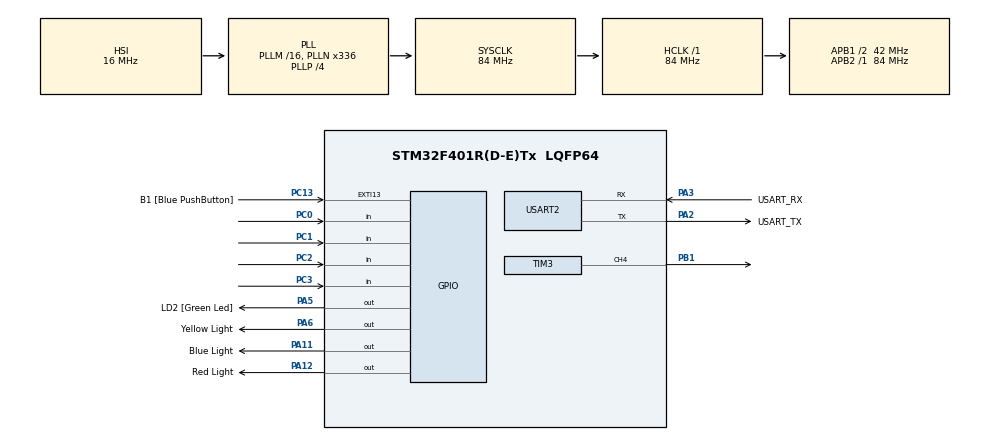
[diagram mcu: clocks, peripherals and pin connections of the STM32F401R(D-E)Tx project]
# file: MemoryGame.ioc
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Mcu.Family=STM32F4
Mcu.Name=STM32F401R(D-E)Tx
Mcu.Package=LQFP64
NVIC.PriorityGroup=NVIC_PRIORITYGROUP_4
NVIC.TIM2_IRQn=true\:0\:0\:false\:false\:true\:true\:true\:true
NVIC.TIM3_IRQn=true\:0\:0\:false\:false\:true\:true\:true\:true
PA11.GPIO_Label=Blue Light
PA11.Signal=GPIO_Output
PA12.GPIO_Label=Red Light
PA12.Signal=GPIO_Output
PA13.GPIO_Label=TMS
PA13.Mode=Trace_Asynchronous_SW
PA13.Signal=SYS_JTMS-SWDIO
PA14.GPIO_Label=TCK
PA14.Mode=Trace_Asynchronous_SW
PA14.Signal=SYS_JTCK-SWCLK
PA2.GPIO_Label=USART_TX
PA2.GPIO_Mode=GPIO_MODE_AF_PP
PA2.GPIO_PuPd=GPIO_NOPULL
PA2.GPIO_Speed=GPIO_SPEED_FREQ_LOW
PA2.Mode=Asynchronous
PA2.Signal=USART2_TX
PA3.GPIO_Label=USART_RX
PA3.GPIO_Mode=GPIO_MODE_AF_PP
PA3.GPIO_PuPd=GPIO_NOPULL
PA3.GPIO_Speed=GPIO_SPEED_FREQ_LOW
PA3.Mode=Asynchronous
PA3.Signal=USART2_RX
PA5.GPIO_Label=LD2 [Green Led]
PA5.GPIO_Mode=GPIO_MODE_OUTPUT_PP
PA5.GPIO_PuPd=GPIO_NOPULL
PA5.GPIO_Speed=GPIO_SPEED_FREQ_LOW
PA5.Signal=GPIO_Output
PA6.GPIO_Label=Yellow Light
PA6.Signal=GPIO_Output
PB1.Signal=S_TIM3_CH4
PB3.GPIO_Label=SWO
PB3.Mode=Trace_Asynchronous_SW
PB3.Signal=SYS_JTDO-SWO
PC0.GPIO_PuPd=GPIO_PULLUP
PC0.Signal=GPIO_Input
PC1.GPIO_PuPd=GPIO_PULLUP
PC1.Signal=GPIO_Input
PC13-ANTI_TAMP.GPIO_Label=B1 [Blue PushButton]
PC13-ANTI_TAMP.GPIO_ModeDefaultEXTI=GPIO_MODE_IT_FALLING
PC13-ANTI_TAMP.GPIO_PuPd=GPIO_NOPULL
PC13-ANTI_TAMP.Signal=GPXTI13
PC14-OSC32_IN.Mode=LSE-External-Oscillator
PC14-OSC32_IN.Signal=RCC_OSC32_IN
PC15-OSC32_OUT.Mode=LSE-External-Oscillator
PC15-OSC32_OUT.Signal=RCC_OSC32_OUT
PC2.GPIO_PuPd=GPIO_PULLUP
PC2.Signal=GPIO_Input
PC3.GPIO_PuPd=GPIO_PULLUP
PC3.Signal=GPIO_Input
PH0\ -\ OSC_IN.Mode=HSE-External-Clock-Source
PH0\ -\ OSC_IN.Signal=RCC_OSC_IN
PH1\ -\ OSC_OUT.Mode=HSE-External-Clock-Source
PH1\ -\ OSC_OUT.Signal=RCC_OSC_OUT
ProjectManager.HeapSize=0x200
ProjectManager.StackSize=0x400
ProjectManager.TargetToolchain=CMake
RCC.48MHZClocksFreq_Value=48000000
RCC.AHBFreq_Value=84000000
RCC.APB1CLKDivider=RCC_HCLK_DIV2
RCC.APB1Freq_Value=42000000
RCC.APB1TimFreq_Value=84000000
RCC.APB2Freq_Value=84000000
RCC.APB2TimFreq_Value=84000000
RCC.CortexFreq_Value=84000000
RCC.HCLKFreq_Value=84000000
RCC.HSE_VALUE=8000000
RCC.HSI_VALUE=16000000
RCC.PLLN=336
RCC.PLLP=RCC_PLLP_DIV4
RCC.PLLQ=7
RCC.SYSCLKFreq_VALUE=84000000
RCC.SYSCLKSource=RCC_SYSCLKSOURCE_PLLCLK
RCC.VCOOutputFreq_Value=336000000
SH.S_TIM3_CH4.0=TIM3_CH4,PWM Generation4 CH4
TIM2.Period=9
TIM2.Prescaler=8399
TIM3.Channel-PWM\ Generation4\ CH4=TIM_CHANNEL_4
TIM3.Period=4095
TIM3.Prescaler=83
USART2.VirtualMode=VM_ASYNC
VP_TIM2_VS_ClockSourceINT.Mode=Internal
VP_TIM3_VS_ClockSourceINT.Mode=Internal
board=NUCLEO-F401RE

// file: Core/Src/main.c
/* USER CODE BEGIN Header */
/**
  ******************************************************************************
  * @file           : main.c
  * @brief          : Main program body
  ******************************************************************************
  * @attention
  *
  * Copyright (c) 2026 STMicroelectronics.
  * All rights reserved.
  *
  * This software is licensed under terms that can be found in the LICENSE file
  * in the root directory of this software component.
  * If no LICENSE file comes with this software, it is provided AS-IS.
  *
  ******************************************************************************
  */
/* USER CODE END Header */
#include "main.h"

/* USER CODE BEGIN Includes */
#include <stdint.h>
#include <stdio.h>
#include <string.h>
#include <sys/_intsup.h>
/* USER CODE END Includes */

/* USER CODE BEGIN PTD */
typedef enum {
  IDLE,
  DISPLAY_SEQUENCE,
  USER_INPUT,
  GAME_OVER,
} GameState;

typedef enum {
  RED = 0,
  BLUE,
  YELLOW,
  GREEN,
  NONE
} ColorIndex;

typedef struct {
  uint16_t button_pin;
  uint16_t light_pin;
  uint16_t note;
  uint8_t toggled;
} Color;

Color colors[] = {
  {GPIO_PIN_3, GPIO_PIN_12, (uint16_t) 261, 0},
  {GPIO_PIN_2, GPIO_PIN_11, (uint16_t) 293, 0},
  {GPIO_PIN_1, GPIO_PIN_6, (uint16_t) 329, 0},
  {GPIO_PIN_0, GPIO_PIN_5, (uint16_t) 349, 0},
};

typedef struct {
  GameState state;
  uint8_t sequence[64];
  uint8_t sequence_length;
  uint8_t input_index;
} GameContext;
/* USER CODE END PTD */

/* USER CODE BEGIN PD */
#define GAME_MAX_DELAY 500
#define GAME_DELAY_SHORT 200
#define DEBOUNCE_TIME 50
#define UART_MSG(msg) msg "\r\n"
/* USER CODE END PD */

TIM_HandleTypeDef htim2;
TIM_HandleTypeDef htim3;

UART_HandleTypeDef huart2;

/* USER CODE BEGIN PV */
GameContext game;
uint32_t rng = 198273;
/* USER CODE END PV */

void SystemClock_Config(void);
static void MX_GPIO_Init(void);
static void MX_TIM3_Init(void);
static void MX_USART2_UART_Init(void);
static void MX_TIM2_Init(void);
/* USER CODE BEGIN PFP */
void game_init(void);
void game_step(void);
void play_tone(uint16_t freq);
void stop_tone(void);
void toggle_color(Color *color);
void set_color(Color *color, uint8_t state);
uint8_t get_next_random_color(void);
uint8_t get_button_input(uint8_t reset);
void uart_print(char* msg);
/* USER CODE END PFP */

int main(void)
{

  /* MCU Configuration--------------------------------------------------------*/

  /* Reset of all peripherals, Initializes the Flash interface and the Systick. */
  HAL_Init();

  /* Configure the system clock */
  SystemClock_Config();

  /* Initialize all configured peripherals */
  MX_GPIO_Init();
  MX_TIM3_Init();
  MX_USART2_UART_Init();
  MX_TIM2_Init();
  /* USER CODE BEGIN 2 */
  HAL_TIM_PWM_Start(&htim3, TIM_CHANNEL_4);
  HAL_TIM_Base_Start_IT(&htim2);

  HAL_GPIO_WritePin(GPIOA, GPIO_PIN_5|GPIO_PIN_6|GPIO_PIN_11|GPIO_PIN_12, GPIO_PIN_RESET);
  /* USER CODE END 2 */

  /* Infinite loop */
  while (1)
  {

    /* USER CODE BEGIN 3 */
    game_step();

    if (HAL_GPIO_ReadPin(GPIOC, GPIO_PIN_13) == GPIO_PIN_RESET) {
      HAL_Delay(DEBOUNCE_TIME);
      if (HAL_GPIO_ReadPin(GPIOC, GPIO_PIN_13) == GPIO_PIN_RESET) {
        while (HAL_GPIO_ReadPin(GPIOC, GPIO_PIN_13) == GPIO_PIN_RESET);
        game_init();
      }
    }
  }
  /* USER CODE END 3 */
}

void SystemClock_Config(void)
{
  RCC_OscInitTypeDef RCC_OscInitStruct = {0};
  RCC_ClkInitTypeDef RCC_ClkInitStruct = {0};

  /** Configure the main internal regulator output voltage
  */
  __HAL_RCC_PWR_CLK_ENABLE();
  __HAL_PWR_VOLTAGESCALING_CONFIG(PWR_REGULATOR_VOLTAGE_SCALE2);

  /** Initializes the RCC Oscillators according to the specified parameters
  * in the RCC_OscInitTypeDef structure.
  */
  RCC_OscInitStruct.OscillatorType = RCC_OSCILLATORTYPE_HSI;
  RCC_OscInitStruct.HSIState = RCC_HSI_ON;
  RCC_OscInitStruct.HSICalibrationValue = RCC_HSICALIBRATION_DEFAULT;
  RCC_OscInitStruct.PLL.PLLState = RCC_PLL_ON;
  RCC_OscInitStruct.PLL.PLLSource = RCC_PLLSOURCE_HSI;
  RCC_OscInitStruct.PLL.PLLM = 16;
  RCC_OscInitStruct.PLL.PLLN = 336;
  RCC_OscInitStruct.PLL.PLLP = RCC_PLLP_DIV4;
  RCC_OscInitStruct.PLL.PLLQ = 7;
  if (HAL_RCC_OscConfig(&RCC_OscInitStruct) != HAL_OK)
  {
    Error_Handler();
  }

  /** Initializes the CPU, AHB and APB buses clocks
  */
  RCC_ClkInitStruct.ClockType = RCC_CLOCKTYPE_HCLK|RCC_CLOCKTYPE_SYSCLK
                              |RCC_CLOCKTYPE_PCLK1|RCC_CLOCKTYPE_PCLK2;
  RCC_ClkInitStruct.SYSCLKSource = RCC_SYSCLKSOURCE_PLLCLK;
  RCC_ClkInitStruct.AHBCLKDivider = RCC_SYSCLK_DIV1;
  RCC_ClkInitStruct.APB1CLKDivider = RCC_HCLK_DIV2;
  RCC_ClkInitStruct.APB2CLKDivider = RCC_HCLK_DIV1;

  if (HAL_RCC_ClockConfig(&RCC_ClkInitStruct, FLASH_LATENCY_2) != HAL_OK)
  {
    Error_Handler();
  }
}

static void MX_TIM2_Init(void)
{

  TIM_ClockConfigTypeDef sClockSourceConfig = {0};
  TIM_MasterConfigTypeDef sMasterConfig = {0};

  htim2.Instance = TIM2;
  htim2.Init.Prescaler = 8399;
  htim2.Init.CounterMode = TIM_COUNTERMODE_UP;
  htim2.Init.Period = 9;
  htim2.Init.ClockDivision = TIM_CLOCKDIVISION_DIV1;
  htim2.Init.AutoReloadPreload = TIM_AUTORELOAD_PRELOAD_DISABLE;
  if (HAL_TIM_Base_Init(&htim2) != HAL_OK)
  {
    Error_Handler();
  }
  sClockSourceConfig.ClockSource = TIM_CLOCKSOURCE_INTERNAL;
  if (HAL_TIM_ConfigClockSource(&htim2, &sClockSourceConfig) != HAL_OK)
  {
    Error_Handler();
  }
  sMasterConfig.MasterOutputTrigger = TIM_TRGO_RESET;
  sMasterConfig.MasterSlaveMode = TIM_MASTERSLAVEMODE_DISABLE;
  if (HAL_TIMEx_MasterConfigSynchronization(&htim2, &sMasterConfig) != HAL_OK)
  {
    Error_Handler();
  }

}

static void MX_TIM3_Init(void)
{

  TIM_ClockConfigTypeDef sClockSourceConfig = {0};
  TIM_MasterConfigTypeDef sMasterConfig = {0};
  TIM_OC_InitTypeDef sConfigOC = {0};

  htim3.Instance = TIM3;
  htim3.Init.Prescaler = 83;
  htim3.Init.CounterMode = TIM_COUNTERMODE_UP;
  htim3.Init.Period = 4095;
  htim3.Init.ClockDivision = TIM_CLOCKDIVISION_DIV1;
  htim3.Init.AutoReloadPreload = TIM_AUTORELOAD_PRELOAD_DISABLE;
  if (HAL_TIM_Base_Init(&htim3) != HAL_OK)
  {
    Error_Handler();
  }
  sClockSourceConfig.ClockSource = TIM_CLOCKSOURCE_INTERNAL;
  if (HAL_TIM_ConfigClockSource(&htim3, &sClockSourceConfig) != HAL_OK)
  {
    Error_Handler();
  }
  if (HAL_TIM_PWM_Init(&htim3) != HAL_OK)
  {
    Error_Handler();
  }
  sMasterConfig.MasterOutputTrigger = TIM_TRGO_RESET;
  sMasterConfig.MasterSlaveMode = TIM_MASTERSLAVEMODE_DISABLE;
  if (HAL_TIMEx_MasterConfigSynchronization(&htim3, &sMasterConfig) != HAL_OK)
  {
    Error_Handler();
  }
  sConfigOC.OCMode = TIM_OCMODE_PWM1;
  sConfigOC.Pulse = 0;
  sConfigOC.OCPolarity = TIM_OCPOLARITY_HIGH;
  sConfigOC.OCFastMode = TIM_OCFAST_DISABLE;
  if (HAL_TIM_PWM_ConfigChannel(&htim3, &sConfigOC, TIM_CHANNEL_4) != HAL_OK)
  {
    Error_Handler();
  }
  HAL_TIM_MspPostInit(&htim3);

}

static void MX_USART2_UART_Init(void)
{

  huart2.Instance = USART2;
  huart2.Init.BaudRate = 115200;
  huart2.Init.WordLength = UART_WORDLENGTH_8B;
  huart2.Init.StopBits = UART_STOPBITS_1;
  huart2.Init.Parity = UART_PARITY_NONE;
  huart2.Init.Mode = UART_MODE_TX_RX;
  huart2.Init.HwFlowCtl = UART_HWCONTROL_NONE;
  huart2.Init.OverSampling = UART_OVERSAMPLING_16;
  if (HAL_UART_Init(&huart2) != HAL_OK)
  {
    Error_Handler();
  }

}

static void MX_GPIO_Init(void)
{
  GPIO_InitTypeDef GPIO_InitStruct = {0};

  /* GPIO Ports Clock Enable */
  __HAL_RCC_GPIOC_CLK_ENABLE();
  __HAL_RCC_GPIOH_CLK_ENABLE();
  __HAL_RCC_GPIOA_CLK_ENABLE();
  __HAL_RCC_GPIOB_CLK_ENABLE();

  /*Configure GPIO pin Output Level */
  HAL_GPIO_WritePin(GPIOA, LD2_Pin|Yellow_Light_Pin|Blue_Light_Pin|Red_Light_Pin, GPIO_PIN_RESET);

  /*Configure GPIO pin : B1_Pin */
  GPIO_InitStruct.Pin = B1_Pin;
  GPIO_InitStruct.Mode = GPIO_MODE_IT_FALLING;
  GPIO_InitStruct.Pull = GPIO_NOPULL;
  HAL_GPIO_Init(B1_GPIO_Port, &GPIO_InitStruct);

  /*Configure GPIO pins : PC0 PC1 PC2 PC3 */
  GPIO_InitStruct.Pin = GPIO_PIN_0|GPIO_PIN_1|GPIO_PIN_2|GPIO_PIN_3;
  GPIO_InitStruct.Mode = GPIO_MODE_INPUT;
  GPIO_InitStruct.Pull = GPIO_PULLUP;
  HAL_GPIO_Init(GPIOC, &GPIO_InitStruct);

  /*Configure GPIO pins : LD2_Pin Yellow_Light_Pin Blue_Light_Pin Red_Light_Pin */
  GPIO_InitStruct.Pin = LD2_Pin|Yellow_Light_Pin|Blue_Light_Pin|Red_Light_Pin;
  GPIO_InitStruct.Mode = GPIO_MODE_OUTPUT_PP;
  GPIO_InitStruct.Pull = GPIO_NOPULL;
  GPIO_InitStruct.Speed = GPIO_SPEED_FREQ_LOW;
  HAL_GPIO_Init(GPIOA, &GPIO_InitStruct);

}

/* USER CODE BEGIN 4 */

uint8_t get_next_random_color() {
  rng = rng * 102934871 + 39165;
  return (uint8_t)((rng >> 16) & 0x03);
}

void play_tone(uint16_t freq) {
  uint32_t period = (1000000 / freq) - 1; // 1,000,00 HZ set by prescaler=83
  __HAL_TIM_SET_AUTORELOAD(&htim3, period);
  __HAL_TIM_SET_COMPARE(&htim3, TIM_CHANNEL_4, period >> 2);
}

void stop_tone() {
  __HAL_TIM_SET_COMPARE(&htim3, TIM_CHANNEL_4, 0);
}

void toggle_color(Color *color) {
  if (!color->toggled) {
    HAL_GPIO_WritePin(GPIOA, color->light_pin, GPIO_PIN_SET);
    play_tone(color->note);
    color->toggled = 1;
  }
  else{
    HAL_GPIO_WritePin(GPIOA, color->light_pin, GPIO_PIN_RESET);
    stop_tone();
    color->toggled = 0;
  }
}

void set_color(Color *color, uint8_t state) {
  color->toggled = !state;
  toggle_color(color);
}

void game_init() {
  rng = HAL_GetTick();

  game.sequence_length = 0;
  game.input_index = 0;
  game.state = DISPLAY_SEQUENCE;

  game.sequence[0] = get_next_random_color();
  game.sequence_length = 1;

  get_button_input(1); // Reset static variables
  uart_print(UART_MSG("Game started."));
}

void game_step() {
  switch (game.state) {
    case DISPLAY_SEQUENCE:

      // 1. Check if sequence is complete.
      if (game.input_index >= game.sequence_length) {
        game.state = USER_INPUT;
        game.input_index = 0;
        uart_print(UART_MSG("Reading user inputs..."));
        return;
      }

      // 2. Calculate sequence delay.
      uint32_t delay_modifier = (game.sequence_length >> 2) * 50;
      uint32_t sequence_delay = GAME_MAX_DELAY - delay_modifier;

      // 3. Display current sequence step.
      Color *current_color = &colors[game.sequence[game.input_index]];
      toggle_color(current_color);
      HAL_Delay(sequence_delay);
      toggle_color(current_color);
      HAL_Delay(100);

      // 4. Go to next color in sequence.
      game.input_index++;
      break;

    case USER_INPUT: {
      static ColorIndex last_color = NONE;

      // 1. Check if sequence is complete
      if (game.input_index >= game.sequence_length) {
        game.sequence[game.sequence_length] = get_next_random_color();
        game.sequence_length++;
        game.input_index = 0;
        game.state = DISPLAY_SEQUENCE;
        last_color = NONE;

        HAL_Delay(250); // Wait before displaying sequence
        return;
      }

      // 2. Get button pressed by user
      ColorIndex color = get_button_input(0);
      if (color == last_color)
        return;

      // 3. Case 1: Button was released (COLOR -> NONE), continue sequence.
      if (last_color != NONE && color == NONE) {
        set_color(&colors[last_color], 0);
        game.input_index++;
      }
      // 4. Case 2: Button was pressed (NONE -> COLOR).
      else if (last_color == NONE && color != NONE) {

        // 5 If button does not match sequence, fail IMMEDIATELY.
        if (color != game.sequence[game.input_index]) {
          game.state = GAME_OVER;
          last_color = NONE;

          uart_print(UART_MSG("Game over."));
          return;
        }
        // 6. Otherwise, display input.
        else {
          set_color(&colors[color], 1);
        }
      }

      // 7. Set last button
      last_color = color;
      break;
    }
    case GAME_OVER:
      play_tone(130);
      Color *correct_color = &colors[game.sequence[game.input_index]];

      for (int i = 0; i < 6; i ++) {
        HAL_GPIO_TogglePin(GPIOA, correct_color->light_pin);
        HAL_Delay(250);
      }
      stop_tone();
      game.state = IDLE;
      break;
    case IDLE:
      break;
  }
}

uint8_t get_button_input(uint8_t reset) {
  static uint8_t stable_button = NONE;
  static uint8_t candidate_button = NONE;
  static uint32_t last_debounce_time = 0;

  uint8_t current_button = NONE;

  // Clear static variables on game start
  if (reset) {
    stable_button = NONE;
    candidate_button = NONE;
    last_debounce_time = 0;
    return NONE;
  }

  // Read buttons
  for (uint8_t i = 0; i < 4; i++) {
    if (HAL_GPIO_ReadPin(GPIOC, colors[i].button_pin) == GPIO_PIN_RESET) {
      current_button = i;
      break;
    }
  }

  if (current_button != candidate_button) {
    candidate_button = current_button;
    last_debounce_time = HAL_GetTick();
  }

  if ((HAL_GetTick() - last_debounce_time) >= DEBOUNCE_TIME) {
    stable_button = candidate_button;
  }

  return stable_button;
}

void uart_print(char* msg) {
  uint8_t len = strlen(msg);
  HAL_UART_Transmit(&huart2, (uint8_t*)msg, len, HAL_MAX_DELAY  );
}
/* USER CODE END 4 */

void Error_Handler(void)
{
  __disable_irq();
  while (1)
  {
  }
}
